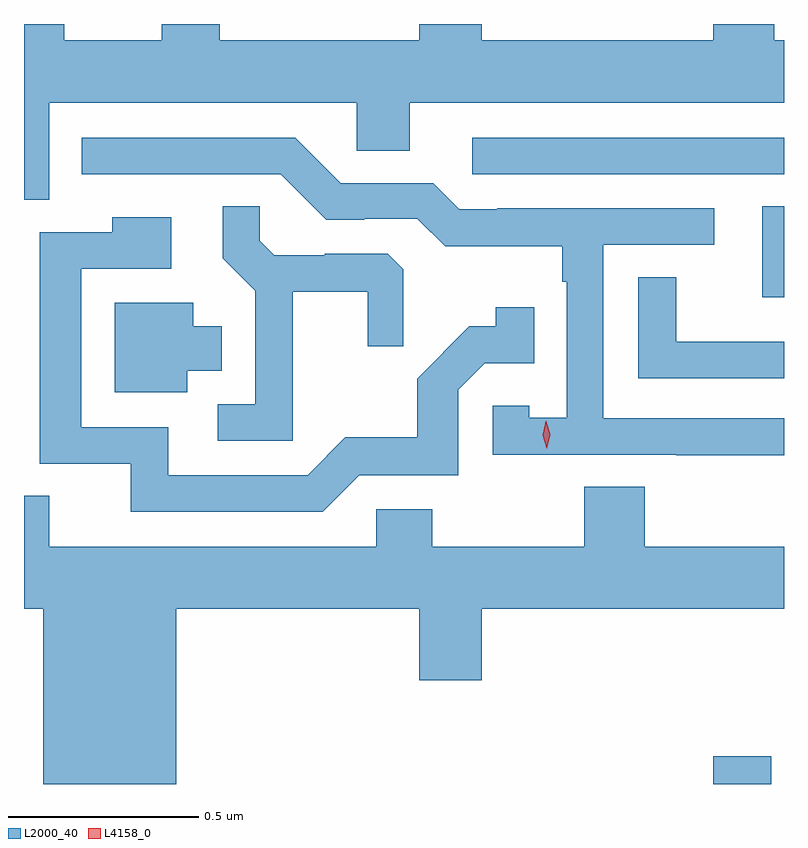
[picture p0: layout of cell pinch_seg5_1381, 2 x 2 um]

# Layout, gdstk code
import gdstk
lib = gdstk.Library(unit=1e-6, precision=1e-09)
def R(c, l, rs):  # rectangles x0, y0, x1, y1
    for r in rs: c.add(gdstk.rectangle(r[:2], r[2:], *l))
def P(c, l, *ps):  # polygons
    for p in ps: c.add(gdstk.Polygon(p, *l))
L2000_40 = (2000, 40)
L4158_0 = (4158, 0)

pinch_seg5_1381 = lib.new_cell('pinch_seg5_1381')
R(pinch_seg5_1381, L2000_40, [(285.662,882.939,285.815,883.012), (285.791,884.22,285.848,884.459), (285.027,884.544,285.848,884.64)])
P(pinch_seg5_1381, L2000_40, [(283.915,884.732),(284.724,884.732),(284.724,884.605),(284.863,884.605),(284.863,884.732),(285.848,884.732),(285.848,884.896),(285.822,884.896),(285.822,884.939),(285.662,884.939),(285.662,884.896),(285.052,884.896),(285.052,884.939),(284.888,884.939),(284.888,884.896),(284.363,884.896),(284.363,884.939),(284.21,884.939),(284.21,884.896),(283.954,884.896),(283.954,884.939),(283.848,884.939),(283.848,884.476),(283.915,884.476)],
  [(285.848,883.902),(285.372,883.902),(285.372,884.358),(285.664,884.358),(285.664,884.454),(285.094,884.454),(285.094,884.451),(284.994,884.451),(284.925,884.52),(284.682,884.52),(284.562,884.64),(284,884.64),(284,884.544),(284.523,884.544),(284.643,884.424),(284.744,884.424),(284.744,884.427),(284.883,884.427),(284.956,884.354),(285.264,884.354),(285.264,884.261),(285.276,884.261),(285.276,883.903),(285.177,883.903),(285.177,883.935),(285.081,883.935),(285.081,883.806),(285.565,883.806),(285.565,883.804),(285.848,883.804)],
  [(284.555,884.234),(284.752,884.234),(284.752,884.091),(284.846,884.091),(284.846,884.293),(284.805,884.334),(284.64,884.334),(284.64,884.331),(284.506,884.331),(284.469,884.368),(284.469,884.459),(284.371,884.459),(284.371,884.323),(284.457,884.237),(284.457,883.938),(284.358,883.938),(284.358,883.842),(284.555,883.842)],
  [(284.73,883.752),(284.991,883.752),(284.991,883.977),(285.06,884.046),(285.191,884.046),(285.191,884.194),(285.09,884.194),(285.09,884.144),(285.02,884.144),(284.883,884.006),(284.883,883.851),(284.694,883.851),(284.595,883.752),(284.227,883.752),(284.227,883.878),(283.998,883.878),(283.998,884.295),(284.236,884.295),(284.236,884.431),(284.08,884.431),(284.08,884.391),(283.89,884.391),(283.89,883.782),(284.129,883.782),(284.129,883.656),(284.634,883.656)],
  [(285.848,884.103),(285.564,884.103),(285.564,884.273),(285.465,884.273),(285.465,884.007),(285.848,884.007)],
  [(284.278,884.027),(284.368,884.027),(284.368,884.143),(284.293,884.143),(284.293,884.206),(284.087,884.206),(284.087,883.97),(284.278,883.97)],
  [(284.248,883.4),(284.888,883.4),(284.888,883.212),(285.052,883.212),(285.052,883.4),(285.848,883.4),(285.848,883.564),(285.482,883.564),(285.482,883.721),(285.322,883.721),(285.322,883.564),(284.922,883.564),(284.922,883.662),(284.775,883.662),(284.775,883.564),(283.915,883.564),(283.915,883.697),(283.848,883.697),(283.848,883.4),(283.898,883.4),(283.898,882.939),(284.248,882.939)])
P(pinch_seg5_1381, L4158_0, [(285.224,883.821),(285.224,883.822),(285.213,883.857),(285.221,883.893),(285.222,883.893),(285.222,883.893),(285.233,883.858),(285.224,883.822)])

lib.write_gds('pinch_seg5_1381.gds')
